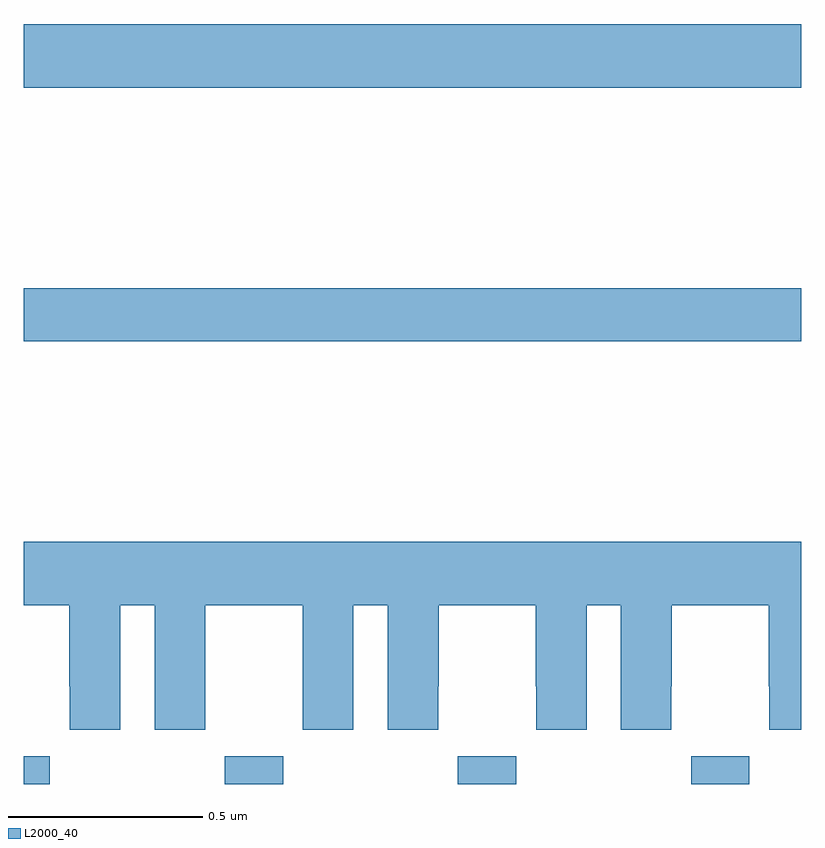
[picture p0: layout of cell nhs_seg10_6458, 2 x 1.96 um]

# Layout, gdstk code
import gdstk
lib = gdstk.Library(unit=1e-6, precision=1e-09)
def R(c, l, rs):  # rectangles x0, y0, x1, y1
    for r in rs: c.add(gdstk.rectangle(r[:2], r[2:], *l))
def A(c, l, x, y, w, h, nx, ny, dx, dy):  # array of equal rectangles
    R(c, l, [(x+i*dx, y+j*dy, x+i*dx+w, y+j*dy+h) for i in range(nx) for j in range(ny)])
def P(c, l, *ps):  # polygons
    for p in ps: c.add(gdstk.Polygon(p, *l))
L2000_40 = (2000, 40)

nhs_seg10_6458 = lib.new_cell('nhs_seg10_6458')
A(nhs_seg10_6458, L2000_40, 191.517, 1322.5, 0.15, 0.072, 3, 1, 0.6, 0)
R(nhs_seg10_6458, L2000_40, [(191,1322.5,191.067,1322.572), (191,1323.64,193,1323.776), (191,1324.292,193,1324.456)])
P(nhs_seg10_6458, L2000_40, [(191,1322.96),(191.117,1322.96),(191.117,1322.752),(191.118,1322.752),(191.118,1322.64),(191.248,1322.64),(191.248,1322.96),(191.336,1322.96),(191.336,1322.64),(191.466,1322.64),(191.466,1322.752),(191.467,1322.752),(191.467,1322.96),(191.717,1322.96),(191.717,1322.752),(191.718,1322.752),(191.718,1322.64),(191.848,1322.64),(191.848,1322.96),(191.936,1322.96),(191.936,1322.64),(192.066,1322.64),(192.066,1322.752),(192.067,1322.752),(192.067,1322.96),(192.317,1322.96),(192.317,1322.752),(192.318,1322.752),(192.318,1322.64),(192.448,1322.64),(192.448,1322.96),(192.536,1322.96),(192.536,1322.64),(192.666,1322.64),(192.666,1322.752),(192.667,1322.752),(192.667,1322.96),(192.917,1322.96),(192.917,1322.752),(192.918,1322.752),(192.918,1322.64),(193,1322.64),(193,1323.124),(191,1323.124)])

lib.write_gds('nhs_seg10_6458.gds')
